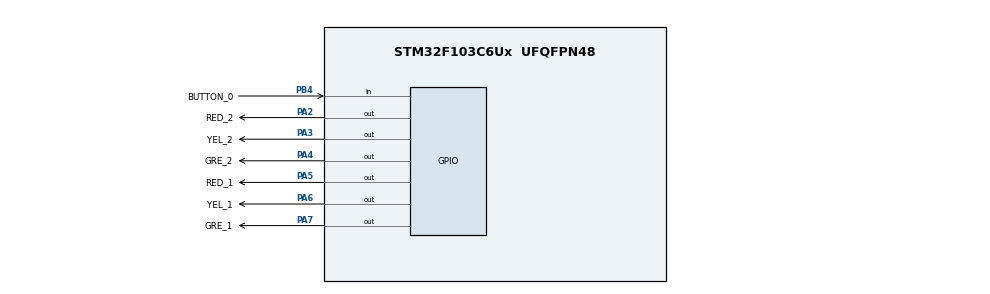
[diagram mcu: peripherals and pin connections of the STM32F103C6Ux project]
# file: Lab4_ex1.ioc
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Mcu.Family=STM32F1
Mcu.Name=STM32F103C6Ux
Mcu.Package=UFQFPN48
NVIC.PriorityGroup=NVIC_PRIORITYGROUP_4
NVIC.TIM2_IRQn=true\:0\:0\:false\:false\:true\:true\:true
NVIC.TIM3_IRQn=true\:0\:0\:false\:false\:true\:true\:true
PA2.GPIO_Label=RED_2
PA2.Signal=GPIO_Output
PA3.GPIO_Label=YEL_2
PA3.Signal=GPIO_Output
PA4.GPIO_Label=GRE_2
PA4.Signal=GPIO_Output
PA5.GPIO_Label=RED_1
PA5.Signal=GPIO_Output
PA6.GPIO_Label=YEL_1
PA6.Signal=GPIO_Output
PA7.GPIO_Label=GRE_1
PA7.Signal=GPIO_Output
PB4.GPIO_Label=BUTTON_0
PB4.GPIO_PuPd=GPIO_PULLUP
PB4.Signal=GPIO_Input
ProjectManager.HeapSize=0x200
ProjectManager.StackSize=0x400
ProjectManager.TargetToolchain=STM32CubeIDE
RCC.APB1Freq_Value=8000000
RCC.APB2Freq_Value=8000000
TIM2.Period=9
TIM2.Prescaler=7999
TIM3.Period=99
TIM3.Prescaler=79
VP_SYS_VS_ND.Mode=No_Debug
VP_TIM2_VS_ClockSourceINT.Mode=Internal
VP_TIM3_VS_ClockSourceINT.Mode=Internal
board=custom

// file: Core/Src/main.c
/* USER CODE BEGIN Header */
/**
  ******************************************************************************
  * @file           : main.c
  * @brief          : Main program body
  ******************************************************************************
  * @attention
  *
  * <h2><center>&copy; Copyright (c) 2023 STMicroelectronics.
  * All rights reserved.</center></h2>
  *
  * This software component is licensed by ST under BSD 3-Clause license,
  * the "License"; You may not use this file except in compliance with the
  * License. You may obtain a copy of the License at:
  *                        opensource.org/licenses/BSD-3-Clause
  *
  ******************************************************************************
  */
/* USER CODE END Header */
#include "main.h"
#include "scheduler.h"

TIM_HandleTypeDef htim2;
TIM_HandleTypeDef htim3;

void SystemClock_Config(void);
static void MX_GPIO_Init(void);
static void MX_TIM2_Init(void);
static void MX_TIM3_Init(void);

/* USER CODE BEGIN 0 */
void FirstLedToggle(void) {
	HAL_GPIO_TogglePin(RED_1_GPIO_Port, RED_1_Pin);
}
void SecondLedToggle(void) {
	HAL_GPIO_TogglePin(YEL_1_GPIO_Port, YEL_1_Pin);
}
void ThirdLedToggle(void) {
	HAL_GPIO_TogglePin(GRE_1_GPIO_Port, GRE_1_Pin);
}
void FourthLedToggle(void) {
	HAL_GPIO_TogglePin(RED_2_GPIO_Port, RED_2_Pin);
}
void FifthLedToggle(void) {
	HAL_GPIO_TogglePin(GRE_2_GPIO_Port, GRE_2_Pin);
}
void SixthLedToggle(void) {
	HAL_GPIO_TogglePin(YEL_2_GPIO_Port, YEL_2_Pin);
}
/* USER CODE END 0 */

int main(void)
{

  /* MCU Configuration--------------------------------------------------------*/

  /* Reset of all peripherals, Initializes the Flash interface and the Systick. */
  HAL_Init();

  /* Configure the system clock */
  SystemClock_Config();

  /* Initialize all configured peripherals */
  MX_GPIO_Init();
  MX_TIM2_Init();
  MX_TIM3_Init();
  /* USER CODE BEGIN 2 */
  HAL_TIM_Base_Start_IT(&htim2);
  HAL_TIM_Base_Start_IT(&htim3);
  SCH_Init();

  SCH_Add_Task(FourthLedToggle, 4000, 4000);
  SCH_Add_Task(SecondLedToggle, 1000, 1000);
  SCH_Add_Task(ThirdLedToggle, 2000, 2000);
  SCH_Add_Task(FirstLedToggle, 500, 500);
  /* USER CODE END 2 */

  /* Infinite loop */
  /* USER CODE BEGIN WHILE */
  while (1)
  {
	  SCH_Dispath_Tasks();
    /* USER CODE END WHILE */

  }
}

void SystemClock_Config(void)
{
  RCC_OscInitTypeDef RCC_OscInitStruct = {0};
  RCC_ClkInitTypeDef RCC_ClkInitStruct = {0};

  /** Initializes the RCC Oscillators according to the specified parameters
  * in the RCC_OscInitTypeDef structure.
  */
  RCC_OscInitStruct.OscillatorType = RCC_OSCILLATORTYPE_HSI;
  RCC_OscInitStruct.HSIState = RCC_HSI_ON;
  RCC_OscInitStruct.HSICalibrationValue = RCC_HSICALIBRATION_DEFAULT;
  RCC_OscInitStruct.PLL.PLLState = RCC_PLL_NONE;
  if (HAL_RCC_OscConfig(&RCC_OscInitStruct) != HAL_OK)
  {
    Error_Handler();
  }
  /** Initializes the CPU, AHB and APB buses clocks
  */
  RCC_ClkInitStruct.ClockType = RCC_CLOCKTYPE_HCLK|RCC_CLOCKTYPE_SYSCLK
                              |RCC_CLOCKTYPE_PCLK1|RCC_CLOCKTYPE_PCLK2;
  RCC_ClkInitStruct.SYSCLKSource = RCC_SYSCLKSOURCE_HSI;
  RCC_ClkInitStruct.AHBCLKDivider = RCC_SYSCLK_DIV1;
  RCC_ClkInitStruct.APB1CLKDivider = RCC_HCLK_DIV1;
  RCC_ClkInitStruct.APB2CLKDivider = RCC_HCLK_DIV1;

  if (HAL_RCC_ClockConfig(&RCC_ClkInitStruct, FLASH_LATENCY_0) != HAL_OK)
  {
    Error_Handler();
  }
}

static void MX_TIM2_Init(void)
{

  TIM_ClockConfigTypeDef sClockSourceConfig = {0};
  TIM_MasterConfigTypeDef sMasterConfig = {0};

  htim2.Instance = TIM2;
  htim2.Init.Prescaler = 7999;
  htim2.Init.CounterMode = TIM_COUNTERMODE_UP;
  htim2.Init.Period = 9;
  htim2.Init.ClockDivision = TIM_CLOCKDIVISION_DIV1;
  htim2.Init.AutoReloadPreload = TIM_AUTORELOAD_PRELOAD_DISABLE;
  if (HAL_TIM_Base_Init(&htim2) != HAL_OK)
  {
    Error_Handler();
  }
  sClockSourceConfig.ClockSource = TIM_CLOCKSOURCE_INTERNAL;
  if (HAL_TIM_ConfigClockSource(&htim2, &sClockSourceConfig) != HAL_OK)
  {
    Error_Handler();
  }
  sMasterConfig.MasterOutputTrigger = TIM_TRGO_RESET;
  sMasterConfig.MasterSlaveMode = TIM_MASTERSLAVEMODE_DISABLE;
  if (HAL_TIMEx_MasterConfigSynchronization(&htim2, &sMasterConfig) != HAL_OK)
  {
    Error_Handler();
  }

}

static void MX_TIM3_Init(void)
{

  TIM_ClockConfigTypeDef sClockSourceConfig = {0};
  TIM_MasterConfigTypeDef sMasterConfig = {0};

  htim3.Instance = TIM3;
  htim3.Init.Prescaler = 7999;
  htim3.Init.CounterMode = TIM_COUNTERMODE_UP;
  htim3.Init.Period = 9;
  htim3.Init.ClockDivision = TIM_CLOCKDIVISION_DIV1;
  htim3.Init.AutoReloadPreload = TIM_AUTORELOAD_PRELOAD_DISABLE;
  if (HAL_TIM_Base_Init(&htim3) != HAL_OK)
  {
    Error_Handler();
  }
  sClockSourceConfig.ClockSource = TIM_CLOCKSOURCE_INTERNAL;
  if (HAL_TIM_ConfigClockSource(&htim3, &sClockSourceConfig) != HAL_OK)
  {
    Error_Handler();
  }
  sMasterConfig.MasterOutputTrigger = TIM_TRGO_RESET;
  sMasterConfig.MasterSlaveMode = TIM_MASTERSLAVEMODE_DISABLE;
  if (HAL_TIMEx_MasterConfigSynchronization(&htim3, &sMasterConfig) != HAL_OK)
  {
    Error_Handler();
  }

}

static void MX_GPIO_Init(void)
{
  GPIO_InitTypeDef GPIO_InitStruct = {0};

  /* GPIO Ports Clock Enable */
  __HAL_RCC_GPIOA_CLK_ENABLE();
  __HAL_RCC_GPIOB_CLK_ENABLE();

  /*Configure GPIO pin Output Level */
  HAL_GPIO_WritePin(GPIOA, RED_2_Pin|YEL_2_Pin|GRE_2_Pin|RED_1_Pin
                          |YEL_1_Pin|GRE_1_Pin, GPIO_PIN_RESET);

  /*Configure GPIO pins : RED_2_Pin YEL_2_Pin GRE_2_Pin RED_1_Pin
                           YEL_1_Pin GRE_1_Pin */
  GPIO_InitStruct.Pin = RED_2_Pin|YEL_2_Pin|GRE_2_Pin|RED_1_Pin
                          |YEL_1_Pin|GRE_1_Pin;
  GPIO_InitStruct.Mode = GPIO_MODE_OUTPUT_PP;
  GPIO_InitStruct.Pull = GPIO_NOPULL;
  GPIO_InitStruct.Speed = GPIO_SPEED_FREQ_LOW;
  HAL_GPIO_Init(GPIOA, &GPIO_InitStruct);

  /*Configure GPIO pin : BUTTON_0_Pin */
  GPIO_InitStruct.Pin = BUTTON_0_Pin;
  GPIO_InitStruct.Mode = GPIO_MODE_INPUT;
  GPIO_InitStruct.Pull = GPIO_PULLUP;
  HAL_GPIO_Init(BUTTON_0_GPIO_Port, &GPIO_InitStruct);

}

void Error_Handler(void)
{
  __disable_irq();
  while (1)
  {
  }
}

/************************ (C) COPYRIGHT STMicroelectronics *****END OF FILE****/
